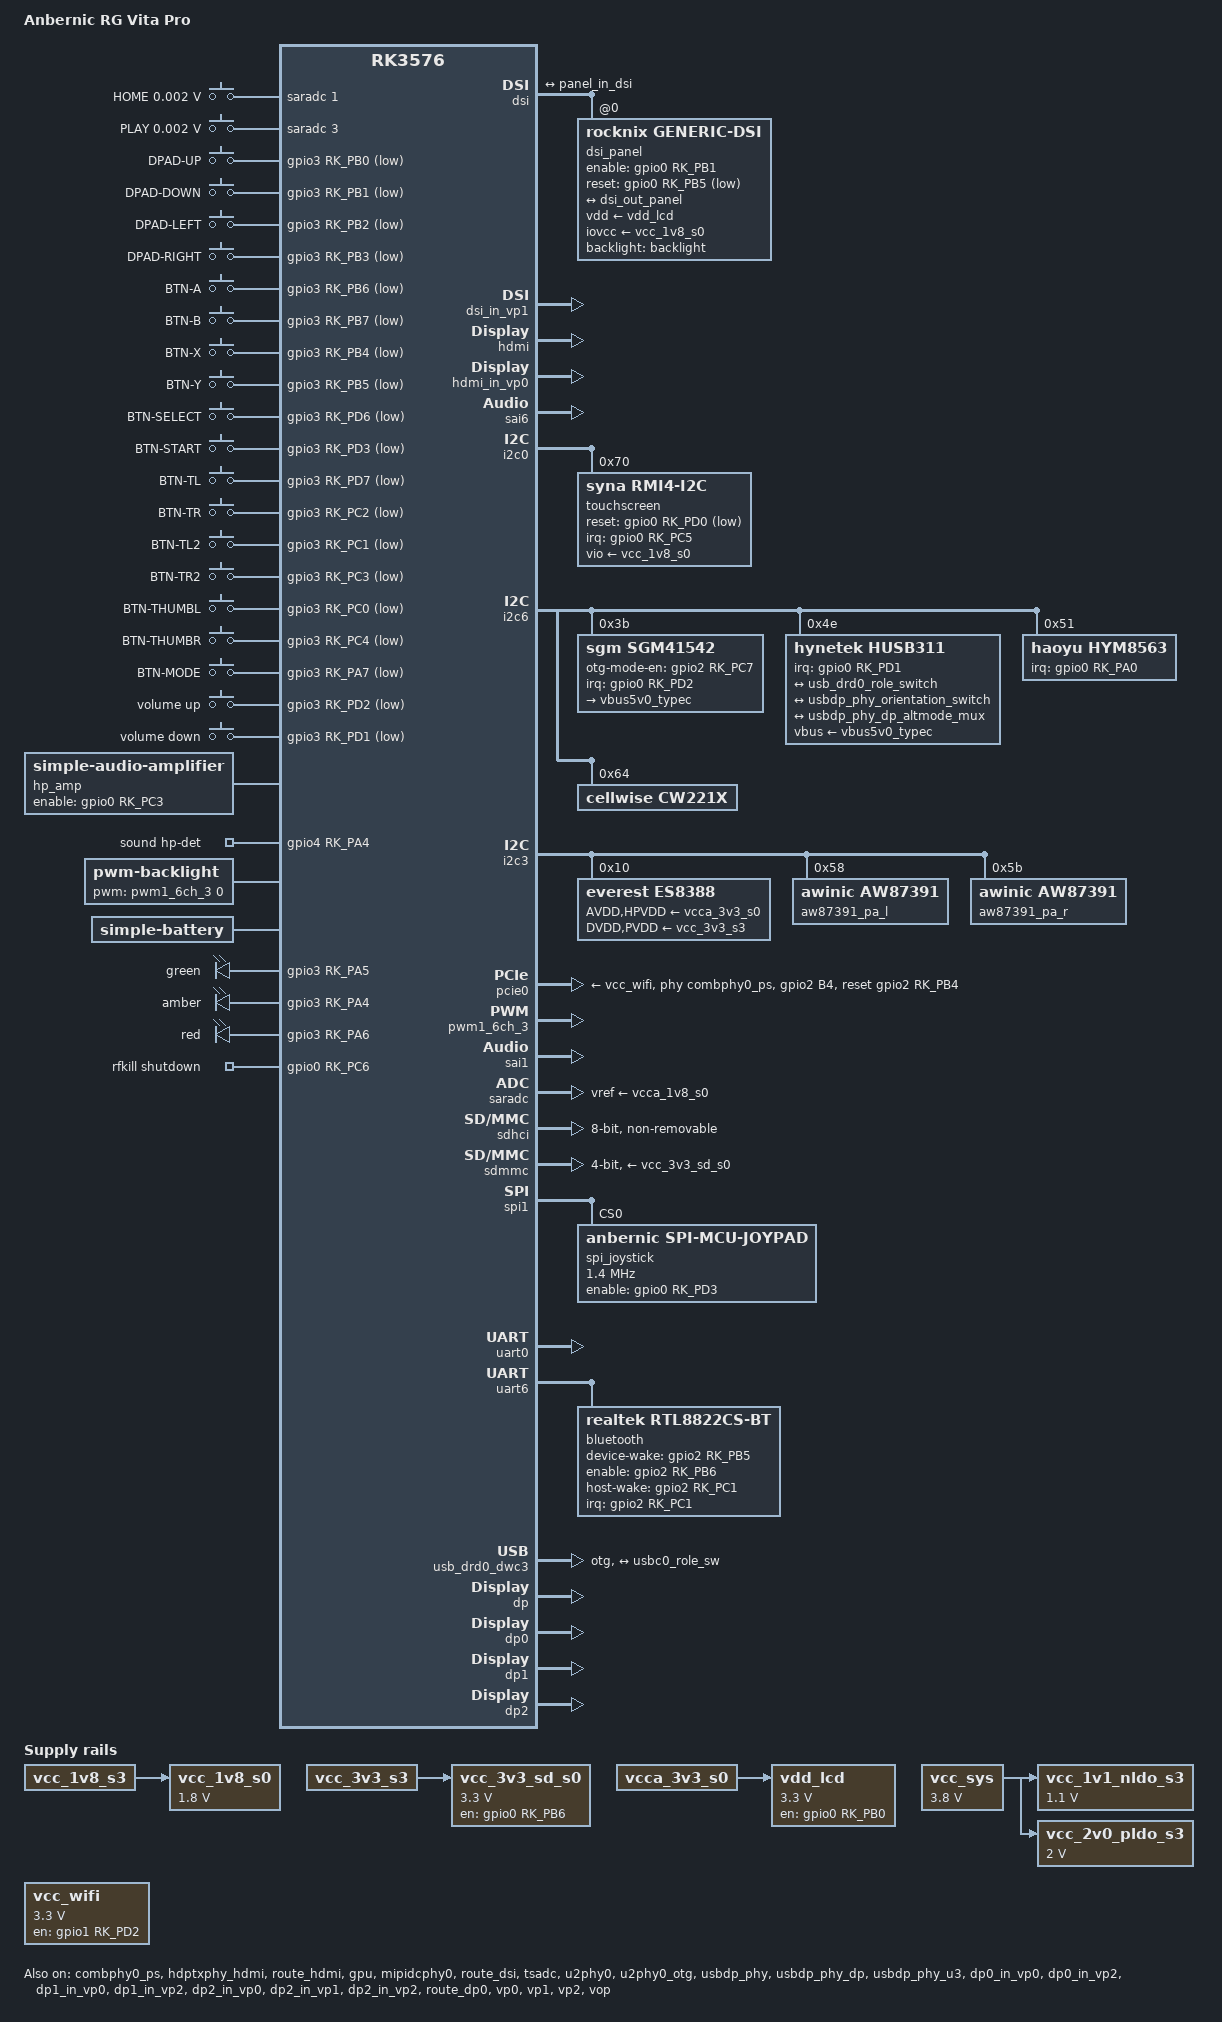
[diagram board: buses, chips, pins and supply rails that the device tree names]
// SPDX-License-Identifier: (GPL-2.0+ OR MIT)
/*
 * Copyright (c) 2026 Chris Morgan <macromorgan@hotmail.com>
 *               2026 Alexander Weinzerl <aweinzerl13@yahoo.com.>
 *
 * Vendor (rk-6.1 BSP) DT for Anbernic RG Vita Pro.
 * Wiring mapped from the mainline/edge DTS. Boot essentials + DSI panel
 * (rocknix,generic-dsi backported) so the LCD can show the console.
 */

/dts-v1/;

#include <dt-bindings/gpio/gpio.h>
#include <dt-bindings/input/linux-event-codes.h>
#include <dt-bindings/interrupt-controller/irq.h>
#include <dt-bindings/pinctrl/rockchip.h>
#include <dt-bindings/phy/phy.h>
#include <dt-bindings/pwm/pwm.h>
#include <dt-bindings/usb/pd.h>

#include "rk3576.dtsi"
#include "rk3576-rk806.dtsi"
#include "rk3576-linux.dtsi"

/ {
	model = "Anbernic RG Vita Pro";
	compatible = "anbernic,rg-vita-pro", "rockchip,rk3576";

	/* Drop android/fiq bootargs from rk3576-linux.dtsi; Armbian sets console. */
	/delete-node/ chosen;

	chosen {
		stdout-path = "serial0:1500000n8";
	};

	adc_keys_home: adc-keys-home {
		compatible = "adc-keys";
		io-channel-names = "buttons";
		io-channels = <&saradc 1>;
		keyup-threshold-microvolt = <1800000>;
		poll-interval = <60>;

		button-home {
			label = "HOME";
			linux,code = <BTN_Z>;
			press-threshold-microvolt = <1750>;
		};
	};

	adc_keys_play: adc-keys-play {
		compatible = "adc-keys";
		io-channel-names = "buttons";
		io-channels = <&saradc 3>;
		keyup-threshold-microvolt = <1300000>;
		poll-interval = <60>;

		button-play {
			label = "PLAY";
			linux,code = <KEY_PLAYPAUSE>;
			press-threshold-microvolt = <1750>;
		};
	};

	/*
	 * Face buttons / D-pad / shoulders. Analog sticks and RGB rings are on
	 * the SPI MCU (see &spi1 spi_joystick).
	 */
	gamepad_keys: gamepad-keys {
		compatible = "gpio-keys";
		pinctrl-names = "default";
		pinctrl-0 = <&button_pins>;

		button-dpad-up {
			label = "DPAD-UP";
			gpios = <&gpio3 RK_PB0 GPIO_ACTIVE_LOW>;
			linux,code = <BTN_DPAD_UP>;
		};
		button-dpad-down {
			label = "DPAD-DOWN";
			gpios = <&gpio3 RK_PB1 GPIO_ACTIVE_LOW>;
			linux,code = <BTN_DPAD_DOWN>;
		};
		button-dpad-left {
			label = "DPAD-LEFT";
			gpios = <&gpio3 RK_PB2 GPIO_ACTIVE_LOW>;
			linux,code = <BTN_DPAD_LEFT>;
		};
		button-dpad-right {
			label = "DPAD-RIGHT";
			gpios = <&gpio3 RK_PB3 GPIO_ACTIVE_LOW>;
			linux,code = <BTN_DPAD_RIGHT>;
		};
		button-a {
			label = "BTN-A";
			gpios = <&gpio3 RK_PB6 GPIO_ACTIVE_LOW>;
			linux,code = <BTN_EAST>;
		};
		button-b {
			label = "BTN-B";
			gpios = <&gpio3 RK_PB7 GPIO_ACTIVE_LOW>;
			linux,code = <BTN_SOUTH>;
		};
		button-x {
			label = "BTN-X";
			gpios = <&gpio3 RK_PB4 GPIO_ACTIVE_LOW>;
			linux,code = <BTN_NORTH>;
		};
		button-y {
			label = "BTN-Y";
			gpios = <&gpio3 RK_PB5 GPIO_ACTIVE_LOW>;
			linux,code = <BTN_WEST>;
		};
		button-select {
			label = "BTN-SELECT";
			gpios = <&gpio3 RK_PD6 GPIO_ACTIVE_LOW>;
			linux,code = <BTN_SELECT>;
		};
		button-start {
			label = "BTN-START";
			gpios = <&gpio3 RK_PD3 GPIO_ACTIVE_LOW>;
			linux,code = <BTN_START>;
		};
		button-l1 {
			label = "BTN-TL";
			gpios = <&gpio3 RK_PD7 GPIO_ACTIVE_LOW>;
			linux,code = <BTN_TL>;
		};
		button-r1 {
			label = "BTN-TR";
			gpios = <&gpio3 RK_PC2 GPIO_ACTIVE_LOW>;
			linux,code = <BTN_TR>;
		};
		button-l2 {
			label = "BTN-TL2";
			gpios = <&gpio3 RK_PC1 GPIO_ACTIVE_LOW>;
			linux,code = <BTN_TL2>;
		};
		button-r2 {
			label = "BTN-TR2";
			gpios = <&gpio3 RK_PC3 GPIO_ACTIVE_LOW>;
			linux,code = <BTN_TR2>;
		};
		button-thumbl {
			label = "BTN-THUMBL";
			gpios = <&gpio3 RK_PC0 GPIO_ACTIVE_LOW>;
			linux,code = <BTN_THUMBL>;
		};
		button-thumbr {
			label = "BTN-THUMBR";
			gpios = <&gpio3 RK_PC4 GPIO_ACTIVE_LOW>;
			linux,code = <BTN_THUMBR>;
		};
		button-mode {
			label = "BTN-MODE";
			gpios = <&gpio3 RK_PA7 GPIO_ACTIVE_LOW>;
			linux,code = <BTN_MODE>;
		};
	};

	gpio_keys: gpio-keys {
		compatible = "gpio-keys";
		pinctrl-names = "default";
		pinctrl-0 = <&vol_keys>;

		vol-up-key {
			debounce-interval = <2>;
			gpios = <&gpio3 RK_PD2 GPIO_ACTIVE_LOW>;
			label = "volume up";
			linux,code = <KEY_VOLUMEUP>;
		};

		vol-down-key {
			debounce-interval = <2>;
			gpios = <&gpio3 RK_PD1 GPIO_ACTIVE_LOW>;
			label = "volume down";
			linux,code = <KEY_VOLUMEDOWN>;
		};
	};

	/*
	 * System rail is 3.8V on this handheld (edge DT: vcc_3v8_sys).
	 * Named vcc_sys so rk3576-rk806.dtsi supply phandles resolve.
	 */
	vcc_sys: vcc-sys {
		compatible = "regulator-fixed";
		regulator-name = "vcc_sys";
		regulator-always-on;
		regulator-boot-on;
		regulator-min-microvolt = <3800000>;
		regulator-max-microvolt = <3800000>;
	};

	vcc_1v1_nldo_s3: vcc-1v1-nldo-s3 {
		compatible = "regulator-fixed";
		regulator-name = "vcc_1v1_nldo_s3";
		regulator-always-on;
		regulator-boot-on;
		regulator-min-microvolt = <1100000>;
		regulator-max-microvolt = <1100000>;
		vin-supply = <&vcc_sys>;
	};

	vcc_2v0_pldo_s3: vcc-2v0-pldo-s3 {
		compatible = "regulator-fixed";
		regulator-name = "vcc_2v0_pldo_s3";
		regulator-always-on;
		regulator-boot-on;
		regulator-min-microvolt = <2000000>;
		regulator-max-microvolt = <2000000>;
		vin-supply = <&vcc_sys>;
	};

	vcc_1v8_s0: vcc-1v8-s0 {
		compatible = "regulator-fixed";
		regulator-name = "vcc_1v8_s0";
		regulator-always-on;
		regulator-boot-on;
		regulator-min-microvolt = <1800000>;
		regulator-max-microvolt = <1800000>;
		vin-supply = <&vcc_1v8_s3>;
	};

	/* Same SD VCC GPIO as edge (gpio0 PB6) / other RK3576 boards. */
	vcc_3v3_sd_s0: vcc-3v3-sd-s0-regulator {
		compatible = "regulator-fixed";
		enable-active-high;
		gpio = <&gpio0 RK_PB6 GPIO_ACTIVE_HIGH>;
		pinctrl-names = "default";
		pinctrl-0 = <&sd_s0_pwr>;
		regulator-boot-on;
		regulator-min-microvolt = <3300000>;
		regulator-max-microvolt = <3300000>;
		regulator-name = "vcc_3v3_sd_s0";
		vin-supply = <&vcc_3v3_s3>;
		regulator-state-mem {
			regulator-off-in-suspend;
		};
	};

	vdd_lcd: regulator-vdd-lcd {
		compatible = "regulator-fixed";
		regulator-name = "vdd_lcd";
		regulator-min-microvolt = <3300000>;
		regulator-max-microvolt = <3300000>;
		/*
		 * Shared electrically with RMI4 touch. Keep on so panel blank/re-init
		 * (vita-panel-touch-fix) does not drop the rail under the touch IC.
		 * Panel is the only DT consumer; touch has no vdd-supply.
		 */
		regulator-always-on;
		regulator-boot-on;
		enable-active-high;
		gpios = <&gpio0 RK_PB0 GPIO_ACTIVE_HIGH>;
		pinctrl-names = "default";
		pinctrl-0 = <&vdd_lcd_h>;
		vin-supply = <&vcca_3v3_s0>;
		regulator-state-mem {
			regulator-on-in-suspend;
		};
	};

	hp_amp: audio-amplifier {
		compatible = "simple-audio-amplifier";
		enable-gpios = <&gpio0 RK_PC3 GPIO_ACTIVE_HIGH>;
		pinctrl-names = "default";
		pinctrl-0 = <&hp_amp_enable_h>;
		sound-name-prefix = "Headphone Amp";
	};

	/* HDMI TX audio (SAI6 → DW-HDMI). Matches BSP rockchip,hdmi card. */
	hdmi_sound: hdmi-sound {
		compatible = "rockchip,hdmi";
		rockchip,mclk-fs = <128>;
		rockchip,card-name = "rockchip-hdmi";
		rockchip,cpu = <&sai6>;
		rockchip,codec = <&hdmi>;
		rockchip,jack-det;
		status = "okay";
	};

	sound: sound {
		compatible = "simple-audio-card";
		pinctrl-names = "default";
		pinctrl-0 = <&hp_det>;
		simple-audio-card,aux-devs = <&aw87391_pa_l>, <&aw87391_pa_r>,
					     <&hp_amp>;
		simple-audio-card,format = "i2s";
		simple-audio-card,hp-det-gpios = <&gpio4 RK_PA4 GPIO_ACTIVE_HIGH>;
		simple-audio-card,mclk-fs = <256>;
		simple-audio-card,name = "rockchip,es8388-codec";
		simple-audio-card,pin-switches = "Headphones", "Internal Speakers";
		simple-audio-card,routing =
			"LINPUT1", "Mic Jack",
			"LINPUT2", "Mic Jack",
			"RINPUT1", "Onboard Microphone",
			"RINPUT2", "Onboard Microphone",
			"Headphones", "Headphone Amp OUTL",
			"Headphones", "Headphone Amp OUTR",
			"Headphone Amp INL", "LOUT1",
			"Headphone Amp INR", "ROUT1",
			"Internal Speakers", "Left Amp OUT",
			"Internal Speakers", "Right Amp OUT",
			"Left Amp IN", "LOUT2",
			"Right Amp IN", "ROUT2";
		simple-audio-card,widgets =
			"Microphone", "Mic Jack",
			"Microphone", "Onboard Microphone",
			"Headphone", "Headphones",
			"Speaker", "Internal Speakers";
		status = "okay";

		simple-audio-card,codec {
			sound-dai = <&es8388>;
			system-clock-frequency = <12288000>;
		};

		simple-audio-card,cpu {
			sound-dai = <&sai1>;
		};
	};

	backlight: backlight {
		compatible = "pwm-backlight";
		pwms = <&pwm1_6ch_3 0 25000 0>;
		brightness-levels = <
			  0   0   0   0   1   1   1   1   1   2   2   2   3   3   3   4
			  4   4   5   5   6   6   6   7   7   8   8   9   9  10  10  11
			 11  12  12  13  14  14  15  15  16  16  17  18  18  19  20  20
			 21  21  22  23  23  24  25  26  26  27  28  28  29  30  31  31
			 32  33  34  34  35  36  37  37  38  39  40  41  41  42  43  44
			 45  46  46  47  48  49  50  51  52  53  53  54  55  56  57  58
			 59  60  61  62  63  64  65  65  66  67  68  69  70  71  72  73
			 74  75  76  77  78  79  80  81  82  83  84  85  86  88  89  90
			 91  92  93  94  95  96  97  98  99 100 102 103 104 105 106 107
			108 109 110 112 113 114 115 116 117 119 120 121 122 123 124 126
			127 128 129 130 132 133 134 135 136 138 139 140 141 142 144 145
			146 147 149 150 151 152 154 155 156 158 159 160 161 163 164 165
			167 168 169 171 172 173 174 176 177 178 180 181 182 184 185 187
			188 189 191 192 193 195 196 197 199 200 202 203 204 206 207 209
			210 211 213 214 216 217 218 220 221 223 224 226 227 228 230 231
			233 234 236 237 239 240 242 243 245 246 248 249 251 252 254 255
		>;
		default-brightness-level = <128>;
	};

	battery: battery {
		compatible = "simple-battery";
		charge-full-design-microamp-hours = <5000000>;
		charge-term-current-microamp = <300000>;
		constant-charge-current-max-microamp = <3780000>;
		constant-charge-voltage-max-microvolt = <4350000>;
		precharge-current-microamp = <180000>;
		precharge-upper-limit-microvolt = <3600000>;
		voltage-max-design-microvolt = <4350000>;
		voltage-min-design-microvolt = <3000000>;
	};

	gpio_leds: leds {
		compatible = "gpio-leds";
		pinctrl-names = "default";
		pinctrl-0 = <&led_amber_h>, <&led_green_h>, <&led_red_h>;

		/* Match edge: green=PA5, amber=PA4, red=PA6 */
		led-green {
			label = "green";
			gpios = <&gpio3 RK_PA5 GPIO_ACTIVE_HIGH>;
			linux,default-trigger = "heartbeat";
			default-state = "on";
		};

		led-amber {
			label = "amber";
			gpios = <&gpio3 RK_PA4 GPIO_ACTIVE_HIGH>;
			default-state = "off";
		};

		led-red {
			label = "red";
			gpios = <&gpio3 RK_PA6 GPIO_ACTIVE_HIGH>;
			default-state = "off";
		};
	};

	/* WiFi radio enable (RTL8822CS). */
	rfkill {
		compatible = "rfkill-gpio";
		pinctrl-names = "default";
		pinctrl-0 = <&wifi_en_h>;
		radio-type = "wlan";
		shutdown-gpios = <&gpio0 RK_PC6 GPIO_ACTIVE_HIGH>;
	};

	vcc_wifi: regulator-vcc-wifi {
		compatible = "regulator-fixed";
		regulator-always-on;
		regulator-name = "vcc_wifi";
		enable-active-high;
		gpios = <&gpio1 RK_PD2 GPIO_ACTIVE_HIGH>;
		pinctrl-names = "default";
		pinctrl-0 = <&vcc_wifi_h>;
		regulator-min-microvolt = <3300000>;
		regulator-max-microvolt = <3300000>;
		regulator-state-mem {
			regulator-on-in-suspend;
		};
	};
};

/*
 * Prefer plain UART0 (ttyS0) to match board SERIALCON and boot-rk3576.cmd.
 * rk3576-linux.dtsi enables fiq_debugger on the same pins.
 */
/delete-node/ &fiq_debugger;

&combphy0_ps {
	status = "okay";
};

&cpu_b0 {
	cpu-supply = <&vdd_cpu_big_s0>;
};

&cpu_l0 {
	cpu-supply = <&vdd_cpu_lit_s0>;
};

&dsi {
	status = "okay";
	#address-cells = <1>;
	#size-cells = <0>;

	dsi_panel: panel@0 {
		compatible = "rocknix,generic-dsi";
		reg = <0>;
		backlight = <&backlight>;
		enable-gpios = <&gpio0 RK_PB1 GPIO_ACTIVE_HIGH>;
		reset-gpios = <&gpio0 RK_PB5 GPIO_ACTIVE_LOW>;
		pinctrl-names = "default";
		pinctrl-0 = <&lcd_enable>, <&lcd_rst>;
		rotation = <270>;
		vdd-supply = <&vdd_lcd>;
		iovcc-supply = <&vcc_1v8_s0>;

		/* Same panel_description as edge Vita Pro. */
		panel_description =
			"G size=229,143 delays=50,220,50,120,20 format=rgb888 lanes=4 flags=0xe03",
			"M clock=152000 horizontal=1080,100,4,100 vertical=1920,15,5,32 default=1";

		ports {
			#address-cells = <1>;
			#size-cells = <0>;

			port@0 {
				reg = <0>;
				panel_in_dsi: endpoint {
					remote-endpoint = <&dsi_out_panel>;
				};
			};
		};
	};

	ports {
		#address-cells = <1>;
		#size-cells = <0>;

		port@1 {
			reg = <1>;
			dsi_out_panel: endpoint {
				remote-endpoint = <&panel_in_dsi>;
			};
		};
	};
};

&dsi_in_vp0 {
	status = "disabled";
};

&dsi_in_vp1 {
	status = "okay";
};

&dsi_in_vp2 {
	status = "disabled";
};

/*
 * HDMI PHY PLL as VOP dclk source so DP/HDMI can hit exact pixel clocks
 * (e.g. 2560x1440 @ 241.5 MHz). Without this, VOP prunes those modes as
 * CLOCK_RANGE / BAD_HVALUE while the panel is active.
 */
&display_subsystem {
	clocks = <&hdptxphy_hdmi>;
	clock-names = "hdmi0_phy_pll";
};

&hdmi {
	status = "okay";
};

&hdmi_in_vp0 {
	status = "okay";
};

&hdptxphy_hdmi {
	status = "okay";
};

&route_hdmi {
	status = "okay";
	connect = <&vp0_out_hdmi>;
};

&sai6 {
	status = "okay";
};

&gpu {
	mali-supply = <&vdd_gpu_s0>;
	status = "okay";
};

&mipidcphy0 {
	status = "okay";
};

&i2c0 {
	pinctrl-names = "default";
	pinctrl-0 = <&i2c0m1_xfer>;
	status = "okay";

	touchscreen: rmi4-i2c@70 {
		compatible = "syna,rmi4-i2c";
		reg = <0x70>;
		syna,startup-delay-ms = <300>;
		syna,reset-delay-ms = <200>;
		interrupt-parent = <&gpio0>;
		interrupts = <RK_PC5 IRQ_TYPE_LEVEL_LOW>;
		reset-gpios = <&gpio0 RK_PD0 GPIO_ACTIVE_LOW>;
		pinctrl-names = "default";
		pinctrl-0 = <&touch_int>, <&touch_rst>;
		/* No vdd-supply: same rail as the panel; panel enables it. */
		vio-supply = <&vcc_1v8_s0>;
		#address-cells = <1>;
		#size-cells = <0>;

		rmi4-f01@1 {
			reg = <0x01>;
			syna,nosleep-mode = <1>;
		};

		rmi4-f12@12 {
			reg = <0x12>;
			syna,sensor-type = <1>;
			syna,clip-x-high = <1080>;
			syna,clip-y-high = <1920>;
		};
	};
};

&i2c6 {
	pinctrl-names = "default";
	pinctrl-0 = <&i2c6m3_xfer>;
	status = "okay";

	sgm41542: sgm41542@3b {
		compatible = "sgm,sgm41542";
		reg = <0x3b>;
		status = "okay";
		pinctrl-names = "default";
		pinctrl-0 = <&charger_ok>;
		interrupt-parent = <&gpio0>;
		interrupts = <RK_PD2 IRQ_TYPE_EDGE_FALLING>;
		otg-mode-en-gpios = <&gpio2 RK_PC7 GPIO_ACTIVE_HIGH>;
		input-voltage-limit-microvolt = <4500000>;
		input-current-limit-microamp = <3000000>;
		monitored-battery = <&battery>;

		regulators {
			vbus5v0_typec: vbus5v0-typec {
				regulator-compatible = "otg-vbus";
				regulator-name = "vbus5v0_typec";
			};
		};
	};

	husb311: typec-portc@4e {
		compatible = "hynetek,husb311";
		reg = <0x4e>;
		interrupt-parent = <&gpio0>;
		interrupts = <RK_PD1 IRQ_TYPE_LEVEL_LOW>;
		pinctrl-names = "default";
		pinctrl-0 = <&usbc_int>;
		vbus-supply = <&vbus5v0_typec>;
		status = "okay";

		port {
			usbc0_role_sw: endpoint {
				remote-endpoint = <&usb_drd0_role_switch>;
			};
		};

		connector {
			compatible = "usb-c-connector";
			label = "USB-C";
			data-role = "dual";
			power-role = "dual";
			try-power-role = "sink";
			op-sink-microwatt = <1000000>;
			sink-pdos = <PDO_FIXED(5000, 3000, PDO_FIXED_USB_COMM)
				     PDO_FIXED(9000, 2000, PDO_FIXED_USB_COMM)>;
			source-pdos = <PDO_FIXED(5000, 3000, PDO_FIXED_USB_COMM)>;
			/* Required so dw-dp gets DP HPD/IRQ via typec_mux (usbdp_phy is graph-linked). */
			mode-switch = <&dp>;

			altmodes {
				#address-cells = <1>;
				#size-cells = <0>;

				altmode@0 {
					reg = <0>;
					svid = <0xff01>;
					vdo = <0xffffffff>;
				};
			};

			ports {
				#address-cells = <1>;
				#size-cells = <0>;

				port@0 {
					reg = <0>;
					usbc0_orien_sw: endpoint {
						remote-endpoint = <&usbdp_phy_orientation_switch>;
					};
				};

				port@1 {
					reg = <1>;
					dp_altmode_mux: endpoint {
						remote-endpoint = <&usbdp_phy_dp_altmode_mux>;
					};
				};
			};
		};
	};

	hym8563: rtc@51 {
		compatible = "haoyu,hym8563";
		reg = <0x51>;
		#clock-cells = <0>;
		clock-output-names = "hym8563";
		interrupt-parent = <&gpio0>;
		interrupts = <RK_PA0 IRQ_TYPE_LEVEL_LOW>;
		pinctrl-names = "default";
		pinctrl-0 = <&hym8563_int>;
		wakeup-source;
		status = "okay";
	};

	cw221X: fuel-gauge@64 {
		compatible = "cellwise,cw221X";
		reg = <0x64>;
		status = "okay";
		cw,user_rsense = <2000>;
		cellwise,battery-profile = [
			5a 00 00 00 00 00 00 00 ab b5 ae c0 a9 a4 cf af
			96 ff ff d7 9a 83 70 69 65 65 65 b8 81 d9 af d9
			d2 ce cd cb ca c7 c8 c5 c2 ba a8 96 8a 85 7d 7a
			7f 88 92 93 94 d3 ff 5f 20 00 ab 10 00 91 68 00
			00 00 64 3c a0 89 00 00 00 00 00 00 00 00 00 b2
		];
	};
};

&i2c3 {
	status = "okay";

	es8388: es8388@10 {
		compatible = "everest,es8388", "everest,es8328";
		reg = <0x10>;
		clocks = <&mclkout_sai1>;
		clock-names = "mclk";
		assigned-clocks = <&mclkout_sai1>;
		assigned-clock-rates = <12288000>;
		AVDD-supply = <&vcca_3v3_s0>;
		DVDD-supply = <&vcc_3v3_s3>;
		HPVDD-supply = <&vcca_3v3_s0>;
		PVDD-supply = <&vcc_3v3_s3>;
		pinctrl-names = "default";
		pinctrl-0 = <&sai1m0_mclk>;
		#sound-dai-cells = <0>;
		status = "okay";
	};

	aw87391_pa_l: aw87391@58 {
		compatible = "awinic,aw87391";
		reg = <0x58>;
		#sound-dai-cells = <0>;
		sound-name-prefix = "Left Amp";
		status = "okay";
	};

	aw87391_pa_r: aw87391@5b {
		compatible = "awinic,aw87391";
		reg = <0x5b>;
		#sound-dai-cells = <0>;
		sound-name-prefix = "Right Amp";
		status = "okay";
	};
};

&pcie0 {
	pinctrl-names = "default";
	pinctrl-0 = <&pcie0_perstn>;
	reset-gpios = <&gpio2 RK_PB4 GPIO_ACTIVE_HIGH>;
	vpcie3v3-supply = <&vcc_wifi>;
	phys = <&combphy0_ps PHY_TYPE_PCIE>;
	rockchip,skip-scan-in-resume;
	supports-clkreq;
	wakeup-source;
	aspm-no-l0s;
	status = "okay";
};

&pinctrl {
	audio {
		hp_amp_enable_h: hp-amp-enable {
			rockchip,pins = <0 RK_PC3 RK_FUNC_GPIO &pcfg_pull_none>;
		};

		hp_det: hp-det {
			rockchip,pins = <4 RK_PA4 RK_FUNC_GPIO &pcfg_pull_up>;
		};
	};

	bluetooth {
		bt_reset_gpio: bt-reset-pin {
			rockchip,pins = <2 RK_PB6 RK_FUNC_GPIO &pcfg_pull_none>;
		};

		bt_wake_gpio: bt-wake-pin {
			rockchip,pins = <2 RK_PB5 RK_FUNC_GPIO &pcfg_pull_none>;
		};

		bt_wake_host_irq: bt-wake-host-irq {
			rockchip,pins = <2 RK_PC1 RK_FUNC_GPIO &pcfg_pull_up>;
		};
	};

	charger {
		charger_ok: charger-ok {
			rockchip,pins =
				<0 RK_PD2 RK_FUNC_GPIO &pcfg_pull_up>,
				<2 RK_PC7 RK_FUNC_GPIO &pcfg_pull_up>;
		};
	};

	buttons {
		button_pins: button-pins {
			rockchip,pins =
				<3 RK_PB0 RK_FUNC_GPIO &pcfg_pull_up>,
				<3 RK_PB1 RK_FUNC_GPIO &pcfg_pull_up>,
				<3 RK_PB2 RK_FUNC_GPIO &pcfg_pull_up>,
				<3 RK_PB3 RK_FUNC_GPIO &pcfg_pull_up>,
				<3 RK_PB6 RK_FUNC_GPIO &pcfg_pull_up>,
				<3 RK_PB7 RK_FUNC_GPIO &pcfg_pull_up>,
				<3 RK_PB4 RK_FUNC_GPIO &pcfg_pull_up>,
				<3 RK_PB5 RK_FUNC_GPIO &pcfg_pull_up>,
				<3 RK_PD6 RK_FUNC_GPIO &pcfg_pull_up>,
				<3 RK_PD3 RK_FUNC_GPIO &pcfg_pull_up>,
				<3 RK_PD7 RK_FUNC_GPIO &pcfg_pull_up>,
				<3 RK_PC2 RK_FUNC_GPIO &pcfg_pull_up>,
				<3 RK_PC1 RK_FUNC_GPIO &pcfg_pull_up>,
				<3 RK_PC3 RK_FUNC_GPIO &pcfg_pull_up>,
				<3 RK_PC0 RK_FUNC_GPIO &pcfg_pull_up>,
				<3 RK_PC4 RK_FUNC_GPIO &pcfg_pull_up>,
				<3 RK_PA7 RK_FUNC_GPIO &pcfg_pull_up>;
		};
	};

	display {
		lcd_enable: lcd-enable {
			rockchip,pins = <0 RK_PB1 RK_FUNC_GPIO &pcfg_pull_none>;
		};

		lcd_rst: lcd-rst {
			rockchip,pins = <0 RK_PB5 RK_FUNC_GPIO &pcfg_pull_down>;
		};
	};

	led {
		led_amber_h: led-amber-h {
			rockchip,pins = <3 RK_PA4 RK_FUNC_GPIO &pcfg_pull_none>;
		};

		led_green_h: led-green-h {
			rockchip,pins = <3 RK_PA5 RK_FUNC_GPIO &pcfg_pull_none>;
		};

		led_red_h: led-red-h {
			rockchip,pins = <3 RK_PA6 RK_FUNC_GPIO &pcfg_pull_none>;
		};
	};

	pcie {
		pcie0_perstn: pcie0-perstn {
			rockchip,pins = <2 RK_PB4 RK_FUNC_GPIO &pcfg_pull_up>;
		};
	};

	regulator {
		vcc_wifi_h: vcc-wifi-h {
			rockchip,pins = <1 RK_PD2 RK_FUNC_GPIO &pcfg_pull_none>;
		};

		vdd_lcd_h: vdd-lcd-h {
			rockchip,pins = <0 RK_PB0 RK_FUNC_GPIO &pcfg_pull_none>;
		};
	};

	sdmmc {
		sd_s0_pwr: sd-s0-pwr {
			rockchip,pins = <0 RK_PB6 RK_FUNC_GPIO &pcfg_pull_up>;
		};
	};

	rtc {
		hym8563_int: hym8563-int {
			rockchip,pins = <0 RK_PA0 RK_FUNC_GPIO &pcfg_pull_up>;
		};
	};

	touch {
		touch_int: touch-int {
			rockchip,pins = <0 RK_PC5 RK_FUNC_GPIO &pcfg_pull_up>;
		};

		touch_rst: touch-rst {
			rockchip,pins = <0 RK_PD0 RK_FUNC_GPIO &pcfg_pull_up>;
		};
	};

	usb {
		usbc_int: usbc-int {
			rockchip,pins = <0 RK_PD1 RK_FUNC_GPIO &pcfg_pull_up>;
		};

		usbc0_sbu1: usbc0-sbu1 {
			rockchip,pins = <4 RK_PB6 RK_FUNC_GPIO &pcfg_pull_down>;
		};

		usbc0_sbu2: usbc0-sbu2 {
			rockchip,pins = <4 RK_PB7 RK_FUNC_GPIO &pcfg_pull_down>;
		};
	};

	volume-keys {
		vol_keys: vol-keys {
			rockchip,pins =
				<3 RK_PD2 RK_FUNC_GPIO &pcfg_pull_up>,
				<3 RK_PD1 RK_FUNC_GPIO &pcfg_pull_up>;
		};
	};

	wifi {
		wifi_en_h: wifi-en-h {
			rockchip,pins = <0 RK_PC6 RK_FUNC_GPIO &pcfg_pull_none>;
		};
	};
};

/* SoC dtsi uses pinctrl-names = "active"; keep that name or PWM skips pinmux. */
&pwm1_6ch_3 {
	pinctrl-0 = <&pwm1m2_ch3>;
	status = "okay";
};

&route_dsi {
	status = "okay";
	connect = <&vp1_out_dsi>;
};

&sai1 {
	status = "okay";
	pinctrl-names = "default";
	pinctrl-0 = <&sai1m0_lrck
		     &sai1m0_sclk
		     &sai1m0_sdi0
		     &sai1m0_sdo0>;
};

&saradc {
	status = "okay";
	vref-supply = <&vcca_1v8_s0>;
};

&sdhci {
	bus-width = <8>;
	no-sdio;
	no-sd;
	non-removable;
	max-frequency = <200000000>;
	mmc-hs400-1_8v;
	mmc-hs400-enhanced-strobe;
	full-pwr-cycle-in-suspend;
	/* CQE is unstable on this eMMC under sustained writes (same as edge). */
	/delete-property/ supports-cqe;
	status = "okay";
};

&sdmmc {
	max-frequency = <150000000>;
	no-sdio;
	no-mmc;
	bus-width = <4>;
	cap-mmc-highspeed;
	cap-sd-highspeed;
	disable-wp;
	sd-uhs-sdr104;
	vmmc-supply = <&vcc_3v3_sd_s0>;
	vqmmc-supply = <&vccio_sd_s0>;
	pinctrl-names = "default";
	pinctrl-0 = <&sdmmc0_bus4>, <&sdmmc0_clk>,
		    <&sdmmc0_cmd>, <&sdmmc0_det>;
	status = "okay";
};

&spi1 {
	num-cs = <1>;
	pinctrl-names = "default";
	pinctrl-0 = <&spi1m2_pins>, <&spi1m2_csn0>;
	status = "okay";

	spi_joystick: spi_joystick@0 {
		compatible = "anbernic,spi-mcu-joypad";
		reg = <0>;
		spi-max-frequency = <1400000>;
		enable-gpios = <&gpio0 RK_PD3 GPIO_ACTIVE_HIGH>;
		poll-interval-ms = <5>;
		abs-x-min = <2500>;
		abs-x-max = <25000>;
		abs-y-min = <2500>;
		abs-y-max = <25000>;
		abs-rx-min = <2500>;
		abs-rx-max = <25000>;
		abs-ry-min = <2500>;
		abs-ry-max = <25000>;
		deadzone-left = <3000>;
		deadzone-right = <3000>;
		deadzone-triggers = <32000>; /* No analog triggers */
		status = "okay";
	};
};

&tsadc {
	status = "okay";
};

&uart0 {
	status = "okay";
};

&uart6 {
	pinctrl-names = "default";
	pinctrl-0 = <&uart6m1_xfer>, <&uart6m1_ctsn>, <&uart6m1_rtsn>;
	uart-has-rtscts;
	status = "okay";

	bluetooth {
		compatible = "realtek,rtl8822cs-bt";
		device-wake-gpios = <&gpio2 RK_PB5 GPIO_ACTIVE_HIGH>;
		enable-gpios = <&gpio2 RK_PB6 GPIO_ACTIVE_HIGH>;
		host-wake-gpios = <&gpio2 RK_PC1 GPIO_ACTIVE_HIGH>;
		interrupt-parent = <&gpio2>;
		interrupts = <RK_PC1 IRQ_TYPE_LEVEL_LOW>;
		pinctrl-names = "default";
		pinctrl-0 = <&bt_reset_gpio>, <&bt_wake_gpio>, <&bt_wake_host_irq>;
		status = "okay";
	};
};

&u2phy0 {
	status = "okay";
};

&u2phy0_otg {
	status = "okay";
	rockchip,typec-vbus-det;
};

&usbdp_phy {
	status = "okay";
	orientation-switch;
	svid = <0xff01>;
	pinctrl-names = "default";
	pinctrl-0 = <&usbc0_sbu1 &usbc0_sbu2>;
	sbu1-dc-gpios = <&gpio4 RK_PB6 GPIO_ACTIVE_HIGH>;
	sbu2-dc-gpios = <&gpio4 RK_PB7 GPIO_ACTIVE_HIGH>;

	port {
		#address-cells = <1>;
		#size-cells = <0>;

		usbdp_phy_orientation_switch: endpoint@0 {
			reg = <0>;
			remote-endpoint = <&usbc0_orien_sw>;
		};

		usbdp_phy_dp_altmode_mux: endpoint@1 {
			reg = <1>;
			remote-endpoint = <&dp_altmode_mux>;
		};
	};
};

&usbdp_phy_dp {
	status = "okay";
	/*
	 * Allow HBR3 (8.1 Gbps). Previously capped at HBR2 (5400) because
	 * HBR3+MST on a 2-lane dock overflowed dw-dp FIFOs; re-test with
	 * current MST/VP wiring before reverting.
	 */
	max-link-rate = <8100>;
};

&usbdp_phy_u3 {
	status = "okay";
};

&usb_drd0_dwc3 {
	usb-role-switch;
	dr_mode = "otg";
	status = "okay";

	port {
		usb_drd0_role_switch: endpoint {
			remote-endpoint = <&usbc0_role_sw>;
		};
	};
};

&dp {
	status = "okay";
	svid = <0xff01>;
};

&dp0 {
	status = "okay";
};

/*
 * MST needs one dw-dp stream encoder (dp0/dp1/dp2) per simultaneous
 * dock monitor. Only dp0 was enabled originally, so both MST connectors
 * shared a single DPMST encoder and the second screen could never modeset.
 */
&dp1 {
	status = "okay";
};

/*
 * Third MST stream (1080p-class per dw-dp caps). Usable for a third
 * external when the panel is off (VP1 free). With panel on, only two
 * USB-C monitors fit (VP0 + VP2); dp2 stays unused.
 */
&dp2 {
	status = "okay";
};

/*
 * Overlapping VP0|VP2 on dp0/dp1/dp2 keeps the same CRTC mask on each
 * DPMST encoder so Mutter can assign CRTCs. Disjoint per-stream VP wiring
 * breaks dual MST ("No available CRTC"). Panel uses VP1; dp2 also wires
 * VP1 for triple-external (panel off). HDMI shares VP0 — see userspace
 * vita-dock-displays MODE=hdmi-combo. HBR3 (8100) preferred for 1440p MST.
 */
&dp0_in_vp0 {
	status = "okay";
};

&dp0_in_vp2 {
	status = "okay";
};

&dp1_in_vp0 {
	status = "okay";
};

&dp1_in_vp2 {
	status = "okay";
};

&dp2_in_vp0 {
	status = "okay";
};

&dp2_in_vp1 {
	status = "okay";
};

&dp2_in_vp2 {
	status = "okay";
};

&route_dp0 {
	status = "okay";
	connect = <&vp2_out_dp0>;
};

&vp0 {
	status = "okay";
};

&vp1 {
	assigned-clocks = <&cru DCLK_VP1_SRC>;
	assigned-clock-parents = <&cru PLL_VPLL>;
	status = "okay";
};

&vp2 {
	status = "okay";
};

&vop {
	status = "okay";
};

&vop_mmu {
	status = "okay";
};
